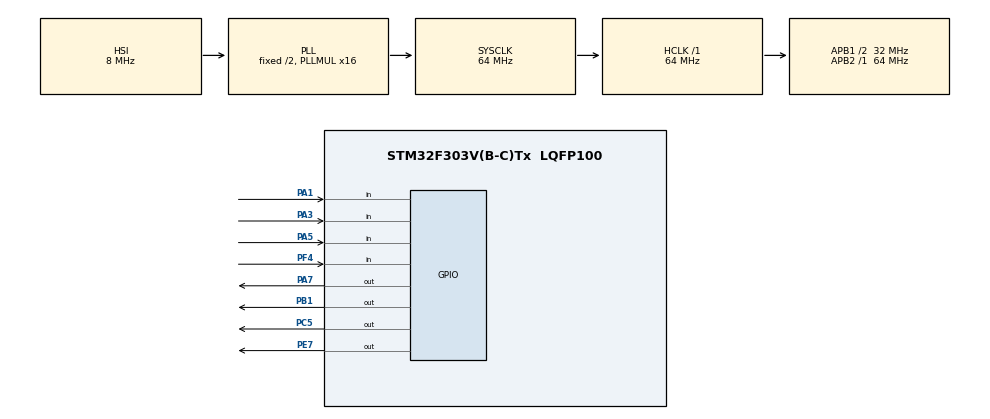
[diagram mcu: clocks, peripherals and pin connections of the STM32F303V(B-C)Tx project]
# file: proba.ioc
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Mcu.Family=STM32F3
Mcu.Name=STM32F303V(B-C)Tx
Mcu.Package=LQFP100
NVIC.PriorityGroup=NVIC_PRIORITYGROUP_4
PA1.Signal=GPIO_Input
PA3.Signal=GPIO_Input
PA5.Signal=GPIO_Input
PA7.Signal=GPIO_Output
PB1.Signal=GPIO_Output
PC5.Signal=GPIO_Output
PE7.Signal=GPIO_Output
PF4.Signal=GPIO_Input
ProjectManager.HeapSize=0x200
ProjectManager.StackSize=0x400
ProjectManager.TargetToolchain=SW4STM32
RCC.AHBFreq_Value=64000000
RCC.APB1CLKDivider=RCC_HCLK_DIV2
RCC.APB1Freq_Value=32000000
RCC.APB1TimFreq_Value=64000000
RCC.APB2Freq_Value=64000000
RCC.APB2TimFreq_Value=64000000
RCC.CortexFreq_Value=64000000
RCC.HCLKFreq_Value=64000000
RCC.HSE_VALUE=8000000
RCC.HSI_VALUE=8000000
RCC.LSE_VALUE=32768
RCC.PLLMUL=RCC_PLL_MUL16
RCC.SYSCLKFreq_VALUE=64000000
RCC.SYSCLKSourceVirtual=RCC_SYSCLKSOURCE_PLLCLK
RCC.USBFreq_Value=64000000
board=proba

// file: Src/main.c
/**
  ******************************************************************************
  * File Name          : main.c
  * Description        : Main program body
  ******************************************************************************
  ** This notice applies to any and all portions of this file
  * that are not between comment pairs USER CODE BEGIN and
  * USER CODE END. Other portions of this file, whether
  * inserted by the user or by software development tools
  * are owned by their respective copyright owners.
  *
  * COPYRIGHT(c) 2017 STMicroelectronics
  *
  * Redistribution and use in source and binary forms, with or without modification,
  * are permitted provided that the following conditions are met:
  *   1. Redistributions of source code must retain the above copyright notice,
  *      this list of conditions and the following disclaimer.
  *   2. Redistributions in binary form must reproduce the above copyright notice,
  *      this list of conditions and the following disclaimer in the documentation
  *      and/or other materials provided with the distribution.
  *   3. Neither the name of STMicroelectronics nor the names of its contributors
  *      may be used to endorse or promote products derived from this software
  *      without specific prior written permission.
  *
  * THIS SOFTWARE IS PROVIDED BY THE COPYRIGHT HOLDERS AND CONTRIBUTORS "AS IS"
  * AND ANY EXPRESS OR IMPLIED WARRANTIES, INCLUDING, BUT NOT LIMITED TO, THE
  * IMPLIED WARRANTIES OF MERCHANTABILITY AND FITNESS FOR A PARTICULAR PURPOSE ARE
  * DISCLAIMED. IN NO EVENT SHALL THE COPYRIGHT HOLDER OR CONTRIBUTORS BE LIABLE
  * FOR ANY DIRECT, INDIRECT, INCIDENTAL, SPECIAL, EXEMPLARY, OR CONSEQUENTIAL
  * DAMAGES (INCLUDING, BUT NOT LIMITED TO, PROCUREMENT OF SUBSTITUTE GOODS OR
  * SERVICES; LOSS OF USE, DATA, OR PROFITS; OR BUSINESS INTERRUPTION) HOWEVER
  * CAUSED AND ON ANY THEORY OF LIABILITY, WHETHER IN CONTRACT, STRICT LIABILITY,
  * OR TORT (INCLUDING NEGLIGENCE OR OTHERWISE) ARISING IN ANY WAY OUT OF THE USE
  * OF THIS SOFTWARE, EVEN IF ADVISED OF THE POSSIBILITY OF SUCH DAMAGE.
  *
  ******************************************************************************
  */
#include "main.h"
#include "stm32f3xx_hal.h"
#include "gpio.h"

/* USER CODE BEGIN PV */
/* Private variables ---------------------------------------------------------*/

#define KEYPAD_PIN_COL0				GPIO_PIN_7
#define KEYPAD_PIN_COL1				GPIO_PIN_5
#define KEYPAD_PIN_COL2				GPIO_PIN_1
#define KEYPAD_PIN_COL3				GPIO_PIN_7
#define KEYPAD_GPIO_COL0			GPIOA
#define KEYPAD_GPIO_COL1			GPIOC
#define KEYPAD_GPIO_COL2			GPIOB
#define KEYPAD_GPIO_COL3			GPIOE
const unsigned gpios[] = {KEYPAD_GPIO_COL0, KEYPAD_GPIO_COL1, KEYPAD_GPIO_COL2, KEYPAD_GPIO_COL3};
const unsigned pins[] = {KEYPAD_PIN_COL0, KEYPAD_PIN_COL1, KEYPAD_PIN_COL2, KEYPAD_PIN_COL3};
// Return value for no key pressed

/* USER CODE END PV */

void SystemClock_Config(void);
uint8_t KeypadGetKey(void);

/* USER CODE BEGIN PFP */
/* Private function prototypes -----------------------------------------------*/
int my_time[7] = {0, 0, 0, 0, 0, 0 ,0};
int kom = 0;
int current = 0;
int dec = 0;
double start = 0;
double changed = 0;
void HAL_GPIO_EXTI_Callback(uint16_t GPIO_Pin)
{
 printf("%d\n", gpios[3] == 1);
 if( GPIO_Pin == UButton0_Pin || GPIO_Pin == UButton1_Pin || GPIO_Pin == UButton2_Pin || GPIO_Pin == UButton3_Pin)
 {
  static uint32_t last_change_tick;
  if( HAL_GetTick() - last_change_tick < 20 )
  {
   return;
  }
  last_change_tick = HAL_GetTick();
  int length = strlen(my_time);
  const unsigned ubuttons[] = {UButton0_Pin, UButton1_Pin, UButton2_Pin, UButton3_Pin};
  char symbs[4][4] = {{'1', '4', '7', '*'}, {'2', '5', '8', '0'}, {'3', '6', '9', '#'}, {'A', 'B', 'C', 'D'}};
  for(int i = 0; i < 4; i++){
	  if(HAL_GPIO_ReadPin(gpios[i], pins[i])){
		  for(int j = 0; j < 4; j++){
			  //printf("%d, %d,\n", GPIO_Pin == UButton2_Pin, i);
			  if (GPIO_Pin == ubuttons[j]){
				  printf("%c %d %d\n", symbs[i][j], GPIO_Pin == UButton2_Pin, i == 3);
			  }
			  if (GPIO_Pin == UButton2_Pin && i == 3 && length != 0 && start == 0){
				  kom = 0;
				  dec = 0;
				  return;
			  }
			  else if(GPIO_Pin == UButton1_Pin && i == 3 && current < 7 && start == 0){
				  my_time[current] = kom;
				  current++;
				  kom = 0;
				  dec = 0;
				  changed = 1;
				  return;
			  }
			  else if(GPIO_Pin == UButton0_Pin && i == 3 && current > 0 && start == 0){
				  my_time[current] = kom;
				  current--;
				  dec = 2;
				  changed = 1;
				  return;
			  }
			  else if(GPIO_Pin == UButton3_Pin && i == 3){
				  if (start == 0){
					  start = 1;
				  }
				  else{
					  start = 0;
				  }
				  changed = 1;
				  return;
			  }
			  else if (GPIO_Pin == ubuttons[j] && symbs[i][j] != '*' && symbs[i][j] != '#' && i != 3 && start == 0){
				  if (dec == 0){
					  kom += symbs[i][j] - '0';
				  }
				  else if (dec == 1){
					  kom *= 10;
					  kom += (symbs[i][j] - '0');
				  }
				  dec++;
				  return;
			  }
		  }
	  }
  }
 }
}
/* USER CODE END PFP */

int main(void)
{

  /* USER CODE BEGIN 1 */
	 extern void initialise_monitor_handles(void);
	 initialise_monitor_handles();

  /* USER CODE END 1 */

  /* MCU Configuration----------------------------------------------------------*/

  /* Reset of all peripherals, Initializes the Flash interface and the Systick. */
  HAL_Init();

  /* Configure the system clock */
  SystemClock_Config();

  /* Initialize all configured peripherals */
  MX_GPIO_Init();

  /* Infinite loop */
  /* USER CODE BEGIN WHILE */
  int i = 0;
  while (1)
  {
	 if(changed == 1){
		 __disable_irq();
		 /*
		 for(int i = 0; i < strlen(my_time); i++){
			 if(i % 2 == 0){
				 printf(" ");
			 }
			 printf("%c", my_time[i]);
		 }
		 */
		 printf("year -- %d, month -- %d, date -- %d, weekday -- %d\n%d:%d:%d\n", my_time[0], my_time[1], my_time[2], my_time[3], my_time[4], my_time[5], my_time[6]);
		 changed = 0;
		 __enable_irq();
	 }
	 //for(int i = 0; i < 4; i++){
		 __disable_irq();
		 HAL_NVIC_DisableIRQ(EXTI0_IRQn);
		 for(int j = 0; j < 4; j++){
			 if(i == j){
				 HAL_GPIO_WritePin(gpios[j], pins[j], GPIO_PIN_SET);
			 }
			 else{
				 HAL_GPIO_WritePin(gpios[j], pins[j], GPIO_PIN_RESET);
			 }
		 }
		 __enable_irq();
		 i++;
		 if(i == 4){
			 i = 0;
		 }
	 //}
  /* USER CODE END WHILE */

  }

}

/** System Clock Configuration
*/
void SystemClock_Config(void)
{

  RCC_OscInitTypeDef RCC_OscInitStruct;
  RCC_ClkInitTypeDef RCC_ClkInitStruct;

    /**Initializes the CPU, AHB and APB busses clocks
    */
  RCC_OscInitStruct.OscillatorType = RCC_OSCILLATORTYPE_HSI;
  RCC_OscInitStruct.HSIState = RCC_HSI_ON;
  RCC_OscInitStruct.HSICalibrationValue = 16;
  RCC_OscInitStruct.PLL.PLLState = RCC_PLL_ON;
  RCC_OscInitStruct.PLL.PLLSource = RCC_PLLSOURCE_HSI;
  RCC_OscInitStruct.PLL.PLLMUL = RCC_PLL_MUL16;
  if (HAL_RCC_OscConfig(&RCC_OscInitStruct) != HAL_OK)
  {
    _Error_Handler(__FILE__, __LINE__);
  }

    /**Initializes the CPU, AHB and APB busses clocks
    */
  RCC_ClkInitStruct.ClockType = RCC_CLOCKTYPE_HCLK|RCC_CLOCKTYPE_SYSCLK
                              |RCC_CLOCKTYPE_PCLK1|RCC_CLOCKTYPE_PCLK2;
  RCC_ClkInitStruct.SYSCLKSource = RCC_SYSCLKSOURCE_PLLCLK;
  RCC_ClkInitStruct.AHBCLKDivider = RCC_SYSCLK_DIV1;
  RCC_ClkInitStruct.APB1CLKDivider = RCC_HCLK_DIV2;
  RCC_ClkInitStruct.APB2CLKDivider = RCC_HCLK_DIV1;

  if (HAL_RCC_ClockConfig(&RCC_ClkInitStruct, FLASH_LATENCY_2) != HAL_OK)
  {
    _Error_Handler(__FILE__, __LINE__);
  }

    /**Configure the Systick interrupt time
    */
  HAL_SYSTICK_Config(HAL_RCC_GetHCLKFreq()/1000);

    /**Configure the Systick
    */
  HAL_SYSTICK_CLKSourceConfig(SYSTICK_CLKSOURCE_HCLK);

  /* SysTick_IRQn interrupt configuration */
  HAL_NVIC_SetPriority(SysTick_IRQn, 0, 0);
}

void _Error_Handler(char * file, int line)
{
  while(1)
  {
  }
}

/************************ (C) COPYRIGHT STMicroelectronics *****END OF FILE****/
